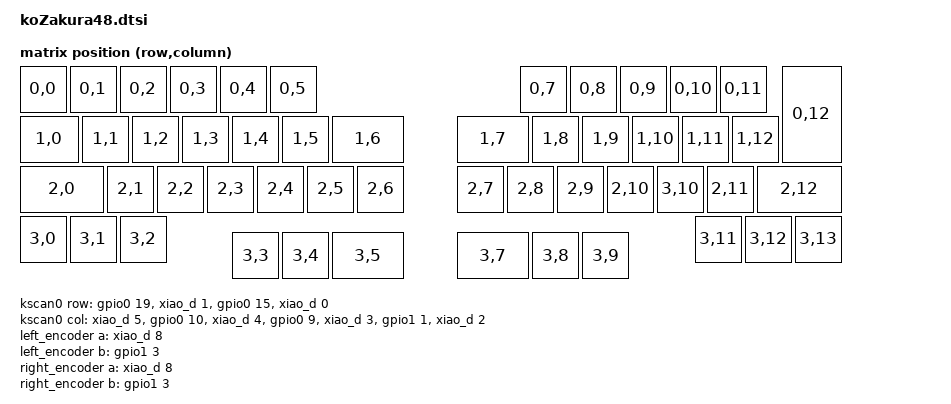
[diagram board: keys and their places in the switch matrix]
#include <dt-bindings/zmk/matrix_transform.h>
#include <input/processors.dtsi>
#include <dt-bindings/zmk/input_transform.h>
#include <physical_layouts.dtsi> //動作確認だめなら消す

/ {
    chosen {
        zmk,physical-layout = &physical_layout0;
    };

    physical_layout0: physical_layout_0 {
        compatible = "zmk,physical-layout";
        display-name = "default_layout";

        kscan = <&kscan0>;
        transform = <&default_transform>;

        keys  //                     w   h    x    y     rot    rx    ry
            = <&key_physical_attrs 100 100    0    0       0     0     0>
            , <&key_physical_attrs 100 100  100    0       0     0     0>
            , <&key_physical_attrs 100 100  200    0       0     0     0>
            , <&key_physical_attrs 100 100  300    0       0     0     0>
            , <&key_physical_attrs 100 100  400    0       0     0     0>
            , <&key_physical_attrs 100 100  500    0       0     0     0>
            , <&key_physical_attrs 100 100 1000    0       0     0     0>
            , <&key_physical_attrs 100 100 1100    0       0     0     0>
            , <&key_physical_attrs 100 100 1200    0       0     0     0>
            , <&key_physical_attrs 100 100 1300    0       0     0     0>
            , <&key_physical_attrs 100 100 1400    0       0     0     0>
            , <&key_physical_attrs 125 200 1525    0       0     0     0>
            , <&key_physical_attrs 125 100    0  100       0     0     0>
            , <&key_physical_attrs 100 100  125  100       0     0     0>
            , <&key_physical_attrs 100 100  225  100       0     0     0>
            , <&key_physical_attrs 100 100  325  100       0     0     0>
            , <&key_physical_attrs 100 100  425  100       0     0     0>
            , <&key_physical_attrs 100 100  525  100       0     0     0>
            , <&key_physical_attrs 150 100  625  100       0     0     0>
            , <&key_physical_attrs 150 100  875  100       0     0     0>
            , <&key_physical_attrs 100 100 1025  100       0     0     0>
            , <&key_physical_attrs 100 100 1125  100       0     0     0>
            , <&key_physical_attrs 100 100 1225  100       0     0     0>
            , <&key_physical_attrs 100 100 1325  100       0     0     0>
            , <&key_physical_attrs 100 100 1425  100       0     0     0>
            , <&key_physical_attrs 175 100    0  200       0     0     0>
            , <&key_physical_attrs 100 100  175  200       0     0     0>
            , <&key_physical_attrs 100 100  275  200       0     0     0>
            , <&key_physical_attrs 100 100  375  200       0     0     0>
            , <&key_physical_attrs 100 100  475  200       0     0     0>
            , <&key_physical_attrs 100 100  575  200       0     0     0>
            , <&key_physical_attrs 100 100  675  200       0     0     0>
            , <&key_physical_attrs 100 100  875  200       0     0     0>
            , <&key_physical_attrs 100 100  975  200       0     0     0>
            , <&key_physical_attrs 100 100 1075  200       0     0     0>
            , <&key_physical_attrs 100 100 1175  200       0     0     0>
            , <&key_physical_attrs 100 100 1275  200       0     0     0>
            , <&key_physical_attrs 100 100 1375  200       0     0     0>
            , <&key_physical_attrs 175 100 1475  200       0     0     0>
            , <&key_physical_attrs 100 100    0  300       0     0     0>
            , <&key_physical_attrs 100 100  100  300       0     0     0>
            , <&key_physical_attrs 100 100  200  300       0     0     0>
            , <&key_physical_attrs 100 100  425  333       0     0     0>
            , <&key_physical_attrs 100 100  525  333       0     0     0>
            , <&key_physical_attrs 150 100  625  333       0     0     0>
            , <&key_physical_attrs 150 100  875  333       0     0     0>
            , <&key_physical_attrs 100 100 1025  333       0     0     0>
            , <&key_physical_attrs 100 100 1125  333       0     0     0>
            , <&key_physical_attrs 100 100 1350  300       0     0     0>
            , <&key_physical_attrs 100 100 1450  300       0     0     0>
            , <&key_physical_attrs 100 100 1550  300       0     0     0>
            ;
    };
// だめなら10-73行目を削除し、コメントアウトをもとに戻す

    default_transform: keymap_transform_0 {
        compatible = "zmk,matrix-transform";
        columns = <14>;
        rows = <4>;               
        map = <
            RC(0,0) RC(0,1) RC(0,2) RC(0,3) RC(0,4) RC(0,5)                            RC(0,7) RC(0,8) RC(0,9)  RC(0,10) RC(0,11) RC(0,12)
            RC(1,0) RC(1,1) RC(1,2) RC(1,3) RC(1,4) RC(1,5) RC(1,6)            RC(1,7) RC(1,8) RC(1,9) RC(1,10) RC(1,11) RC(1,12)
            RC(2,0) RC(2,1) RC(2,2) RC(2,3) RC(2,4) RC(2,5) RC(2,6)            RC(2,7) RC(2,8) RC(2,9) RC(2,10) RC(3,10) RC(2,11) RC(2,12) 
            RC(3,0) RC(3,1) RC(3,2)         RC(3,3) RC(3,4) RC(3,5)            RC(3,7) RC(3,8) RC(3,9)          RC(3,11) RC(3,12) RC(3,13)         
        >;
    };
    
    kscan0: kscan {
        compatible = "zmk,kscan-gpio-matrix";
        label = "KSCAN";
        diode-direction = "col2row";
            row-gpios
                = <&gpio0 19 (GPIO_ACTIVE_HIGH | GPIO_PULL_DOWN)> 
                , <&xiao_d 1 (GPIO_ACTIVE_HIGH | GPIO_PULL_DOWN)>  //gptにきいてD~から実GPIO指定に変更
                , <&gpio0 15 (GPIO_ACTIVE_HIGH | GPIO_PULL_DOWN)> 
                , <&xiao_d 0 (GPIO_ACTIVE_HIGH | GPIO_PULL_DOWN)> 			
                ;
            col-gpios
                = <&xiao_d 5 GPIO_ACTIVE_HIGH>
                , <&gpio0 10  GPIO_ACTIVE_HIGH> 
                , <&xiao_d 4 GPIO_ACTIVE_HIGH> 
                , <&gpio0 9 GPIO_ACTIVE_HIGH> 
                , <&xiao_d 3 GPIO_ACTIVE_HIGH>
                , <&gpio1 1 GPIO_ACTIVE_HIGH>
                , <&xiao_d 2 GPIO_ACTIVE_HIGH>
                ;
    };

    left_encoder: encoder_left {
        compatible = "alps,ec11";
        a-gpios = <&xiao_d 8 (GPIO_ACTIVE_HIGH | GPIO_PULL_UP)>;
        b-gpios = <&gpio1 3 (GPIO_ACTIVE_HIGH | GPIO_PULL_UP)>; //P1.07と逆だったっぽい？
        steps = <24>;
        status = "disabled";
    };

    right_encoder: encoder_right {
        compatible = "alps,ec11"; //お試し追加
        a-gpios = <&xiao_d 8 (GPIO_ACTIVE_HIGH | GPIO_PULL_UP)>; //お試し追加
        b-gpios = <&gpio1 3 (GPIO_ACTIVE_HIGH | GPIO_PULL_UP)>; //お試し追加。P1.07と逆だったっぽい？
        steps = <24>; //お試し追加
        status = "disabled";
    };

  //right hand trackball　mona2ファームにtweakbitトラボファームをお試し移植
    split_inputs {
        #address-cells = <1>;
        #size-cells = <0>;

        trackball_peripheral_split: trackball_peripheral_split@0 {
            compatible = "zmk,input-split";
            reg = <0>;
        };
    };

    trackball_peripheral_listener: trackball_peripheral_listener {
        compatible = "zmk,input-listener";
        status = "disabled";
        device = <&trackball_peripheral_split>;
        input-processors = <&mouse_runtime_input_processor_r>;

        /* スクロールレイヤー: 指定レイヤーでカーソル移動をスクロールに変換 */
        scroller {
            layers = <6>;
            input-processors = <&zip_xy_to_scroll_mapper &scroll_runtime_input_processor>;
        };
    };
    
    //left hand trackball
    trackball_central_listener: trackball_central_listener {
        compatible = "zmk,input-listener";
        status = "disabled";
        input-processors = <&mouse_runtime_input_processor>;

        /* スクロールレイヤー: 指定レイヤーでカーソル移動をスクロールに変換 */
        scroller {
            layers = <6>;
            input-processors = <&zip_xy_to_scroll_mapper &scroll_runtime_input_processor>;
        };
    };

    sensors: sensors {
        compatible = "zmk,keymap-sensors";
        sensors = <&left_encoder &right_encoder>;
        triggers-per-rotation = <10>;
      };
    };
